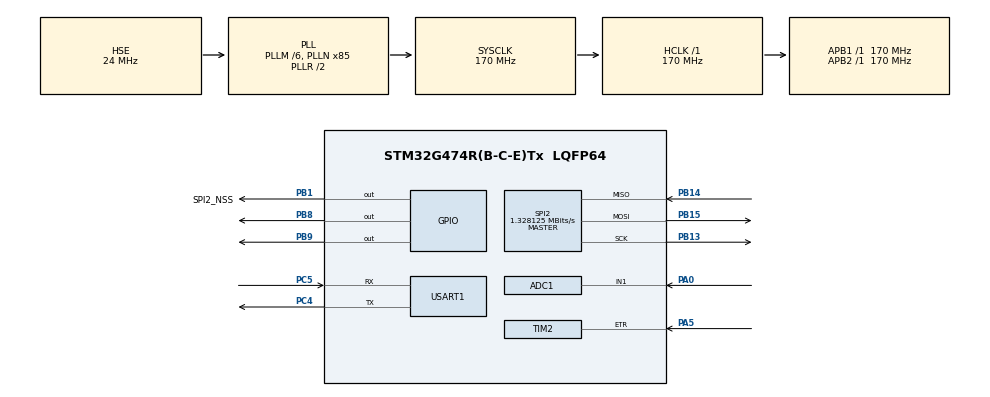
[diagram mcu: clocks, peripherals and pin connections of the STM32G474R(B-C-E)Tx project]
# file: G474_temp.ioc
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ADC1.Channel-0\#ChannelRegularConversion=ADC_CHANNEL_1
ADC1.ContinuousConvMode=DISABLE
ADC1.DMAContinuousRequests=DISABLE
ADC1.ExternalTrigConv=ADC_EXTERNALTRIG_T3_TRGO
ADC1.NbrOfConversionFlag=1
ADC1.OffsetNumber-0\#ChannelRegularConversion=ADC_OFFSET_NONE
ADC1.Rank-0\#ChannelRegularConversion=1
ADC1.SamplingTime-0\#ChannelRegularConversion=ADC_SAMPLETIME_2CYCLES_5
ADC1.master=1
Dma.ADC1.0.Direction=DMA_PERIPH_TO_MEMORY
Dma.ADC1.0.EventEnable=DISABLE
Dma.ADC1.0.Instance=DMA1_Channel1
Dma.ADC1.0.MemDataAlignment=DMA_MDATAALIGN_HALFWORD
Dma.ADC1.0.MemInc=DMA_MINC_ENABLE
Dma.ADC1.0.Mode=DMA_NORMAL
Dma.ADC1.0.PeriphDataAlignment=DMA_PDATAALIGN_HALFWORD
Dma.ADC1.0.PeriphInc=DMA_PINC_DISABLE
Dma.ADC1.0.Polarity=HAL_DMAMUX_REQ_GEN_RISING
Dma.ADC1.0.Priority=DMA_PRIORITY_LOW
Dma.ADC1.0.RequestNumber=1
Dma.ADC1.0.SignalID=NONE
Dma.ADC1.0.SyncEnable=DISABLE
Dma.ADC1.0.SyncPolarity=HAL_DMAMUX_SYNC_NO_EVENT
Dma.ADC1.0.SyncRequestNumber=1
Dma.ADC1.0.SyncSignalID=NONE
Dma.Request0=ADC1
Mcu.Family=STM32G4
Mcu.Name=STM32G474R(B-C-E)Tx
Mcu.Package=LQFP64
NVIC.DMA1_Channel1_IRQn=true\:0\:0\:false\:false\:true\:false\:true\:true
NVIC.PriorityGroup=NVIC_PRIORITYGROUP_4
NVIC.TIM2_IRQn=true\:0\:0\:false\:false\:true\:true\:true\:true
NVIC.TIM4_IRQn=true\:0\:0\:false\:false\:true\:true\:true\:true
NVIC.USART1_IRQn=true\:0\:0\:false\:false\:true\:true\:true\:true
PA0.Mode=IN1-Single-Ended
PA0.Signal=ADC1_IN1
PA13.Mode=Serial_Wire
PA13.Signal=SYS_JTMS-SWDIO
PA14.Mode=Serial_Wire
PA14.Signal=SYS_JTCK-SWCLK
PA5.Signal=S_TIM2_ETR
PB1.GPIO_Label=SPI2_NSS
PB1.GPIO_Speed=GPIO_SPEED_FREQ_VERY_HIGH
PB1.PinState=GPIO_PIN_RESET
PB1.Signal=GPIO_Output
PB13.Mode=Full_Duplex_Master
PB13.Signal=SPI2_SCK
PB14.Mode=Full_Duplex_Master
PB14.Signal=SPI2_MISO
PB15.Mode=Full_Duplex_Master
PB15.Signal=SPI2_MOSI
PB8-BOOT0.GPIO_ModeDefaultOutputPP=GPIO_MODE_OUTPUT_OD
PB8-BOOT0.GPIO_PuPd=GPIO_PULLUP
PB8-BOOT0.GPIO_Speed=GPIO_SPEED_FREQ_HIGH
PB8-BOOT0.Signal=GPIO_Output
PB9.GPIO_ModeDefaultOutputPP=GPIO_MODE_OUTPUT_OD
PB9.GPIO_PuPd=GPIO_PULLUP
PB9.GPIO_Speed=GPIO_SPEED_FREQ_HIGH
PB9.Signal=GPIO_Output
PC14-OSC32_IN.Mode=LSE-External-Oscillator
PC14-OSC32_IN.Signal=RCC_OSC32_IN
PC15-OSC32_OUT.Mode=LSE-External-Oscillator
PC15-OSC32_OUT.Signal=RCC_OSC32_OUT
PC4.Mode=Asynchronous
PC4.Signal=USART1_TX
PC5.Mode=Asynchronous
PC5.Signal=USART1_RX
PF0-OSC_IN.Mode=HSE-External-Oscillator
PF0-OSC_IN.Signal=RCC_OSC_IN
PF1-OSC_OUT.Mode=HSE-External-Oscillator
PF1-OSC_OUT.Signal=RCC_OSC_OUT
ProjectManager.HeapSize=0x200
ProjectManager.StackSize=0x400
ProjectManager.TargetToolchain=MDK-ARM V5.32
RCC.ADC12Freq_Value=170000000
RCC.ADC345Freq_Value=170000000
RCC.AHBFreq_Value=170000000
RCC.APB1Freq_Value=170000000
RCC.APB1TimFreq_Value=170000000
RCC.APB2Freq_Value=170000000
RCC.APB2TimFreq_Value=170000000
RCC.CortexFreq_Value=170000000
RCC.EXTERNAL_CLOCK_VALUE=12288000
RCC.HCLKFreq_Value=170000000
RCC.HSE_VALUE=24000000
RCC.HSI48_VALUE=48000000
RCC.HSI_VALUE=16000000
RCC.PLLM=RCC_PLLM_DIV6
RCC.PLLN=85
RCC.PLLSourceVirtual=RCC_PLLSOURCE_HSE
RCC.RTCClockSelection=RCC_RTCCLKSOURCE_LSE
RCC.SYSCLKFreq_VALUE=170000000
RCC.SYSCLKSource=RCC_SYSCLKSOURCE_PLLCLK
RCC.USBFreq_Value=170000000
RCC.VCOOutputFreq_Value=340000000
SH.S_TIM2_ETR.0=TIM2_ETR,ClockSourceETR_Mode2
SPI2.BaudRatePrescaler=SPI_BAUDRATEPRESCALER_128
SPI2.CalculateBaudRate=1.328125 MBits/s
SPI2.DataSize=SPI_DATASIZE_16BIT
SPI2.Direction=SPI_DIRECTION_2LINES
SPI2.Mode=SPI_MODE_MASTER
SPI2.VirtualType=VM_MASTER
TIM2.AutoReloadPreload=TIM_AUTORELOAD_PRELOAD_ENABLE
TIM3.TIM_MasterOutputTrigger=TIM_TRGO_UPDATE
TIM4.AutoReloadPreload=TIM_AUTORELOAD_PRELOAD_DISABLE
TIM4.PeriodNoDither=10000-1
TIM4.Prescaler=17000-1
USART1.VirtualMode-Asynchronous=VM_ASYNC
VP_SYS_VS_DBSignals.Mode=DisableDeadBatterySignals
VP_TIM3_VS_ClockSourceINT.Mode=Internal
VP_TIM4_VS_ClockSourceINT.Mode=Internal
board=NUCLEO-G474RE

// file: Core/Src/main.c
/* USER CODE BEGIN Header */
/**
  ******************************************************************************
  * @file           : main.c
  * @brief          : Main program body
  ******************************************************************************
  * @attention
  *
  * Copyright (c) 2023 STMicroelectronics.
  * All rights reserved.
  *
  * This software is licensed under terms that can be found in the LICENSE file
  * in the root directory of this software component.
  * If no LICENSE file comes with this software, it is provided AS-IS.
  *
  ******************************************************************************
  */
/* USER CODE END Header */
#include "main.h"
#include "adc.h"
#include "dma.h"
#include "spi.h"
#include "tim.h"
#include "usart.h"
#include "gpio.h"

/* USER CODE BEGIN Includes */
#include "delay.h"
#include "OLED_I2C.h"
#include "FFT.h"
#include "stdio.h"
#include "string.h"
#include "myusart1.h"
/* USER CODE END Includes */

/* USER CODE BEGIN PV */

//extern变量
extern uint32_t FRE;
extern uint32_t Fn;
extern uint16_t cnt;
extern uint16_t vmax;
extern uint16_t vmin;
extern uint16_t amp;
extern uint16_t line_idex;
extern float fft_outputbuf;

//输入捕获变量
uint32_t FQ;//频率
uint32_t CNT_1 = 0;//tim4
uint32_t CNT_2 = 0;//tim4计时计满一个(2^32-1)次

//串口变量
uint8_t data_rx[7] = {0};
uint8_t rx_byte = 0;

//标志变量
uint8_t capture_cnt=0;
uint8_t adc1_flag=1;
uint8_t capture_flag=1;
/* USER CODE END PV */

void SystemClock_Config(void);

/* USER CODE BEGIN 0 */
void HAL_IncTick(void)
{
	if(uwTickFreq==0)
	{
		uwTickFreq = HAL_TICK_FREQ_DEFAULT;
	}
  uwTick += uwTickFreq;
};

void FPGA_Write_Reg(uint8_t addr, uint8_t data)
{
    uint16_t tx_word = (0x1 << 13) | ((addr & 0x1F) << 8) | data;
    HAL_GPIO_WritePin(SPI2_NSS_GPIO_Port, SPI2_NSS_Pin, GPIO_PIN_RESET);
    HAL_SPI_Transmit(&hspi2, (uint8_t*)&tx_word, 1, HAL_MAX_DELAY);
    HAL_GPIO_WritePin(SPI2_NSS_GPIO_Port, SPI2_NSS_Pin, GPIO_PIN_SET);
    HAL_Delay(1);
}
/* USER CODE END 0 */

int main(void)
{

  /* MCU Configuration--------------------------------------------------------*/

  /* Reset of all peripherals, Initializes the Flash interface and the Systick. */
  HAL_Init();

  /* Configure the system clock */
  SystemClock_Config();

  /* Initialize all configured peripherals */
  MX_GPIO_Init();
  MX_DMA_Init();
  MX_USART1_UART_Init();
  MX_ADC1_Init();
  MX_TIM3_Init();
  MX_SPI2_Init();
  MX_TIM2_Init();
  MX_TIM4_Init();
  /* USER CODE BEGIN 2 */
  delay_init(170);
  MyUSART1_Init(&huart1);
  OLED_Init();
  OLED_CLS();
  HAL_UART_Receive_IT(&huart1, data_rx, 1);

  printf("main\xff\xff\xff");
  delay_ms(1000);
  printf("main\xff\xff\xff");
  FRE=1024000;
  ADC1_Get(FRE);

  /* USER CODE END 2 */

  /* Infinite loop */
  while (1)
  {

    /* USER CODE BEGIN 3 */
		if(adc1_flag==0)
		{
			HAL_ADC_Stop_DMA(&hadc1);
			HAL_TIM_Base_Stop(&htim3);
			capture_flag=1;
			HAL_TIM_Base_Start_IT(&htim4);
			HAL_TIM_Base_Start_IT(&htim2);
			HAL_Delay(1);
			adc1_flag=1;
		}
		if (capture_flag==0)
		{
			HAL_TIM_Base_Stop_IT(&htim4);
		   HAL_TIM_Base_Stop_IT(&htim2);
			FRE=1024000;
			HAL_Delay(10);
			ADC1_Get(FRE);
		}
  }
  /* USER CODE END 3 */
}

void SystemClock_Config(void)
{
  RCC_OscInitTypeDef RCC_OscInitStruct = {0};
  RCC_ClkInitTypeDef RCC_ClkInitStruct = {0};

  /** Configure the main internal regulator output voltage
  */
  HAL_PWREx_ControlVoltageScaling(PWR_REGULATOR_VOLTAGE_SCALE1_BOOST);

  /** Initializes the RCC Oscillators according to the specified parameters
  * in the RCC_OscInitTypeDef structure.
  */
  RCC_OscInitStruct.OscillatorType = RCC_OSCILLATORTYPE_HSE;
  RCC_OscInitStruct.HSEState = RCC_HSE_ON;
  RCC_OscInitStruct.PLL.PLLState = RCC_PLL_ON;
  RCC_OscInitStruct.PLL.PLLSource = RCC_PLLSOURCE_HSE;
  RCC_OscInitStruct.PLL.PLLM = RCC_PLLM_DIV6;
  RCC_OscInitStruct.PLL.PLLN = 85;
  RCC_OscInitStruct.PLL.PLLP = RCC_PLLP_DIV2;
  RCC_OscInitStruct.PLL.PLLQ = RCC_PLLQ_DIV2;
  RCC_OscInitStruct.PLL.PLLR = RCC_PLLR_DIV2;
  if (HAL_RCC_OscConfig(&RCC_OscInitStruct) != HAL_OK)
  {
    Error_Handler();
  }

  /** Initializes the CPU, AHB and APB buses clocks
  */
  RCC_ClkInitStruct.ClockType = RCC_CLOCKTYPE_HCLK|RCC_CLOCKTYPE_SYSCLK
                              |RCC_CLOCKTYPE_PCLK1|RCC_CLOCKTYPE_PCLK2;
  RCC_ClkInitStruct.SYSCLKSource = RCC_SYSCLKSOURCE_PLLCLK;
  RCC_ClkInitStruct.AHBCLKDivider = RCC_SYSCLK_DIV1;
  RCC_ClkInitStruct.APB1CLKDivider = RCC_HCLK_DIV1;
  RCC_ClkInitStruct.APB2CLKDivider = RCC_HCLK_DIV1;

  if (HAL_RCC_ClockConfig(&RCC_ClkInitStruct, FLASH_LATENCY_4) != HAL_OK)
  {
    Error_Handler();
  }
}

/* USER CODE BEGIN 4 */
void HAL_ADC_ConvCpltCallback(ADC_HandleTypeDef *hadc)
{
	if(hadc == &hadc1)
	{
		fft_spectrogram_judge();
		adc1_flag=0;
	}
}
void HAL_UART_RxCpltCallback(UART_HandleTypeDef *huart)
{
    if (huart->Instance == USART1)
    {
        for (int i = 0; i < 6; i++)
		  {
            data_rx[i] = data_rx[i + 1];
        }
        data_rx[6] = rx_byte;

        if (data_rx[5] == 0x0D && data_rx[6] == 0x0A)
        {
            memset(data_rx, 0, sizeof(data_rx));
        }
        HAL_UART_Receive_IT(&huart1, &rx_byte, 1);
    }
}

void HAL_TIM_PeriodElapsedCallback(TIM_HandleTypeDef *htim)
{
    if (htim == (&htim4))
    {
        CNT_1 = __HAL_TIM_GET_COUNTER(&htim2);
        FQ = CNT_1 + CNT_2 * (__HAL_TIM_GET_AUTORELOAD(&htim2) + 1);
			if(capture_cnt!=0)
			{
				__HAL_TIM_SET_COUNTER(&htim2, 0);// 设置CNT为0
			}
			if(capture_cnt!=0)
			{
				OLED_ShowInt(10,5,FQ,2);
			}

			capture_cnt=1;
			CNT_1 = 0;
			CNT_2 = 0;
			capture_flag=0;
    }
    if (htim == (&htim2)) // 计数值计满，产生更新中断
    {
        CNT_2++; // 记满后，+1，标志多了一个满量程数
    }
}
/* USER CODE END 4 */

void Error_Handler(void)
{
  __disable_irq();
  while (1)
  {
  }
}
